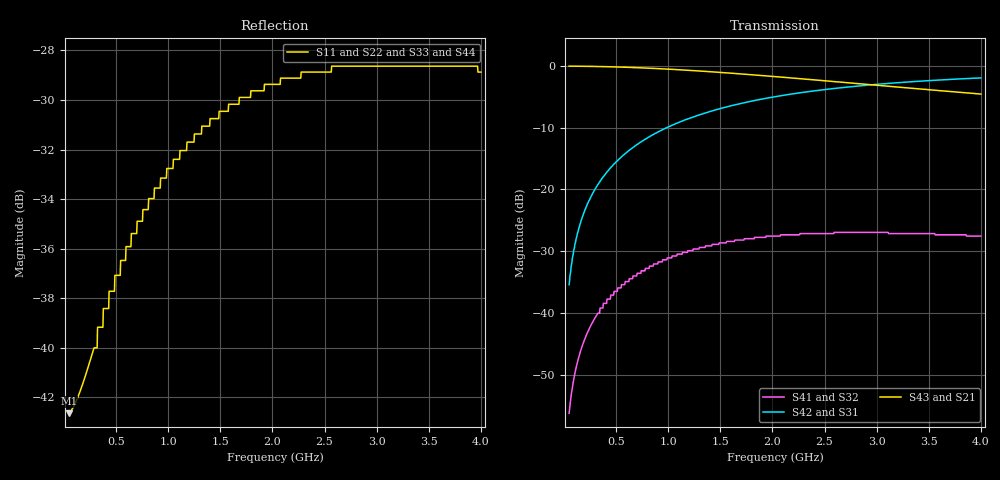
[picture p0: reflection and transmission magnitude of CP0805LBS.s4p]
# MHZ S MA R 50
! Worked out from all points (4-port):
!   1000 points, 50 MHz to 4 GHz, reference 50 ohm
!   strongest paths, dB at 50 MHz, 1.038 GHz, 2.027 GHz, 3.015 GHz, 4 GHz:
!     S43: -0.1, -0.6, -1.8, -3.2, -4.6
!     S21: -0.1, -0.6, -1.8, -3.2, -4.6
!     S42: -35.4, -9.6, -5.0, -3.0, -2.0
!     S31: -35.4, -9.6, -5.0, -3.0, -2.0
!     S41: -56.2, -30.8, -27.5, -26.9, -27.5
!     S32: -56.2, -30.8, -27.5, -26.9, -27.5
!   lowest |S11| = -42.6 dB at 50 MHz (marker M1), VSWR 1.01, Z = 50.7 - j0.149 ohm
!   |S11| at or under -10 dB: start of sweep to end of sweep
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50  0.007374 -11.5  0.993 -1.0  0.017 89.0  0.00155 88.1
    0.993 -1.0  0.007374 -11.5  0.00155 88.1  0.017 89.0
    0.017 89.0  0.00155 88.1  0.007374 -11.5  0.993 -1.0
    0.00155 88.1  0.017 89.0  0.993 -1.0  0.007374 -11.5
172.573  0.008361 -37.0  0.991 -3.4  0.058 86.6  0.005332 83.5
         0.991 -3.4  0.008361 -37.0  0.005332 83.5  0.058 86.6
         0.058 86.6  0.005332 83.5  0.008361 -37.0  0.991 -3.4
         0.005332 83.5  0.058 86.6  0.991 -3.4  0.008361 -37.0
366.316  0.011 -65.7  0.985 -7.1  0.123 82.8  0.011 76.4
         0.985 -7.1  0.011 -65.7  0.011 76.4  0.123 82.8
         0.123 82.8  0.011 76.4  0.011 -65.7  0.985 -7.1
         0.011 76.4  0.123 82.8  0.985 -7.1  0.011 -65.7
647.047  0.017 -91.4  0.969 -12.5  0.214 77.5  0.019 66.3
         0.969 -12.5  0.017 -91.4  0.019 66.3  0.214 77.5
         0.214 77.5  0.019 66.3  0.017 -91.4  0.969 -12.5
         0.019 66.3  0.214 77.5  0.969 -12.5  0.017 -91.4
1010.811  0.023 -113.7  0.938 -19.1  0.323 70.9  0.028 53.8
          0.938 -19.1  0.023 -113.7  0.028 53.8  0.323 70.9
          0.323 70.9  0.028 53.8  0.023 -113.7  0.938 -19.1
          0.028 53.8  0.323 70.9  0.938 -19.1  0.023 -113.7
2098.148  0.035 -157.5  0.808 -35.6  0.576 54.3  0.043 22.8
          0.808 -35.6  0.035 -157.5  0.043 22.8  0.576 54.3
          0.576 54.3  0.043 22.8  0.035 -157.5  0.808 -35.6
          0.043 22.8  0.576 54.3  0.808 -35.6  0.035 -157.5
4000  0.036 158.4  0.591 -53.9  0.798 36.2  0.042 -9.8
      0.591 -53.9  0.036 158.4  0.042 -9.8  0.798 36.2
      0.798 36.2  0.042 -9.8  0.036 158.4  0.591 -53.9
      0.042 -9.8  0.798 36.2  0.591 -53.9  0.036 158.4
